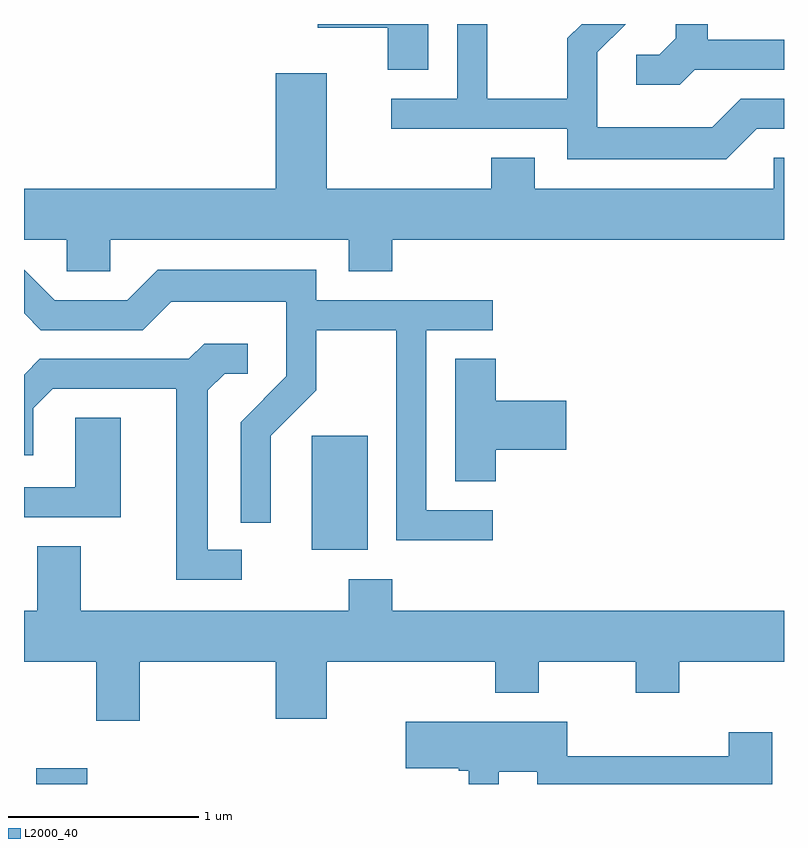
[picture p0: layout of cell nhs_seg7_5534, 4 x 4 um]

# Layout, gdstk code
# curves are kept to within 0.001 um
import gdstk
lib = gdstk.Library(unit=1e-6, precision=1e-09)
def R(c, l, rs):  # rectangles x0, y0, x1, y1
    for r in rs: c.add(gdstk.rectangle(r[:2], r[2:], *l))
def P(c, l, *ps):  # polygons
    for p in ps: c.add(gdstk.Polygon(p, *l))
L2000_40 = (2000, 40)

nhs_seg7_5534 = lib.new_cell('nhs_seg7_5534')
R(nhs_seg7_5534, L2000_40, [(353.676,1800.252,353.944,1800.334), (355.126,1801.486,355.419,1802.084)])
P(nhs_seg7_5534, L2000_40, [(355.739,1804.252),(355.156,1804.252),(355.156,1804.231),(355.526,1804.231),(355.526,1804.011),(355.739,1804.011)],
  [(357.142,1804.011),(357.611,1804.011),(357.611,1804.169),(357.209,1804.169),(357.209,1804.252),(357.041,1804.252),(357.041,1804.177),(356.954,1804.089),(356.833,1804.089),(356.833,1803.931),(357.062,1803.931)],
  [(357.467,1803.701),(357.611,1803.701),(357.611,1803.859),(357.384,1803.859),(357.234,1803.709),(356.629,1803.709),(356.629,1804.104),(356.777,1804.252),(356.546,1804.252),(356.471,1804.177),(356.471,1803.859),(356.049,1803.859),(356.049,1804.252),(355.891,1804.252),(355.891,1803.859),(355.543,1803.859),(355.543,1803.701),(356.471,1803.701),(356.471,1803.541),(357.307,1803.541)],
  [(354.064,1803.116),(355.321,1803.116),(355.321,1802.951),(355.549,1802.951),(355.549,1803.116),(357.611,1803.116),(357.611,1803.549),(357.556,1803.549),(357.556,1803.384),(356.299,1803.384),(356.299,1803.549),(356.071,1803.549),(356.071,1803.384),(355.204,1803.384),(355.204,1803.994),(354.936,1803.994),(354.936,1803.384),(353.611,1803.384),(353.611,1803.116),(353.836,1803.116),(353.836,1802.951),(354.064,1802.951)],
  [(356.078,1801.694),(355.729,1801.694),(355.729,1802.641),(356.078,1802.641),(356.078,1802.799),(355.149,1802.799),(355.149,1802.959),(354.314,1802.959),(354.154,1802.799),(353.772,1802.799),(353.611,1802.959),(353.611,1802.729),(353.699,1802.641),(354.237,1802.641),(354.387,1802.791),(354.991,1802.791),(354.991,1802.397),(354.751,1802.157),(354.751,1801.628),(354.909,1801.628),(354.909,1802.084),(355.149,1802.324),(355.149,1802.641),(355.571,1802.641),(355.571,1801.536),(356.078,1801.536)],
  [(354.758,1801.484),(354.579,1801.484),(354.579,1802.324),(354.667,1802.411),(354.788,1802.411),(354.788,1802.569),(354.559,1802.569),(354.479,1802.489),(353.694,1802.489),(353.611,1802.406),(353.611,1801.983),(353.659,1801.983),(353.659,1802.229),(353.762,1802.331),(354.411,1802.331),(354.411,1801.326),(354.758,1801.326)],
  [(356.094,1802.011),(356.464,1802.011),(356.464,1802.269),(356.094,1802.269),(356.094,1802.489),(355.881,1802.489),(355.881,1801.846),(356.094,1801.846)],
  [(354.119,1802.179),(353.881,1802.179),(353.881,1801.814),(353.611,1801.814),(353.611,1801.656),(354.119,1801.656)],
  [(354.219,1800.896),(354.936,1800.896),(354.936,1800.596),(355.204,1800.596),(355.204,1800.896),(356.091,1800.896),(356.091,1800.731),(356.319,1800.731),(356.319,1800.896),(356.831,1800.896),(356.831,1800.731),(357.059,1800.731),(357.059,1800.896),(357.611,1800.896),(357.611,1801.164),(355.549,1801.164),(355.549,1801.329),(355.321,1801.329),(355.321,1801.164),(353.909,1801.164),(353.909,1801.504),(353.681,1801.504),(353.681,1801.164),(353.611,1801.164),(353.611,1800.896),(353.991,1800.896),(353.991,1800.586),(354.219,1800.586)],
  [(356.109,1800.316),(356.311,1800.316),(356.311,1800.252),(357.549,1800.252),(357.549,1800.524),(357.321,1800.524),(357.321,1800.399),(356.469,1800.399),(356.469,1800.579),(355.621,1800.579),(355.621,1800.336),(355.9,1800.336),(355.9,1800.321),(355.951,1800.321),(355.951,1800.252),(356.109,1800.252)])

lib.write_gds('nhs_seg7_5534.gds')
